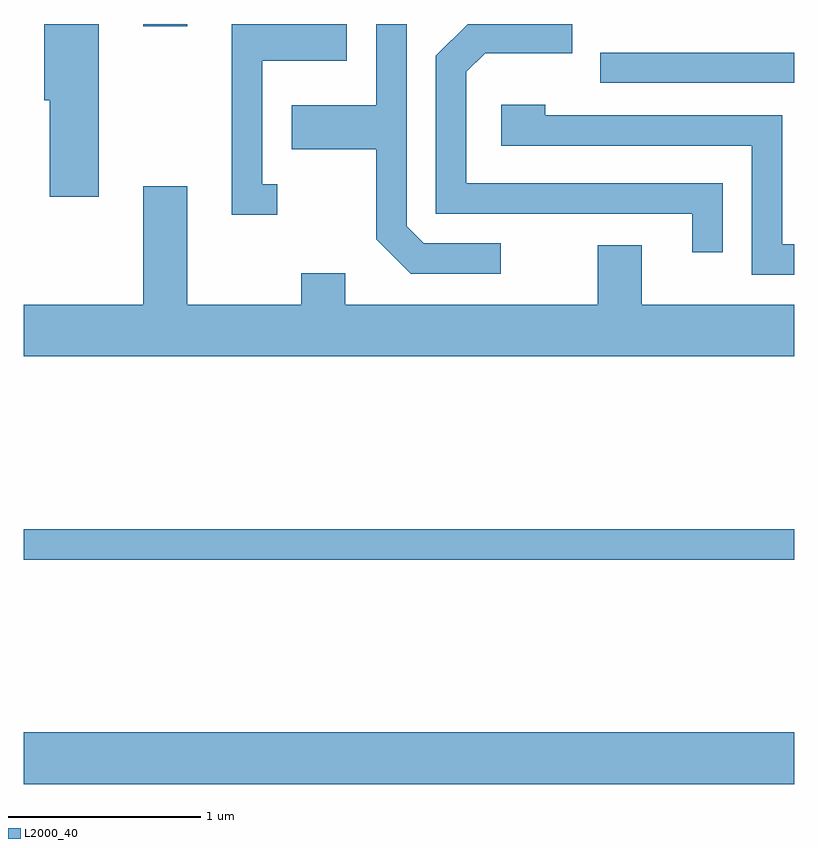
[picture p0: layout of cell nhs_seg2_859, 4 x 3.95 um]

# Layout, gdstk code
import gdstk
lib = gdstk.Library(unit=1e-6, precision=1e-09)
def R(c, l, rs):  # rectangles x0, y0, x1, y1
    for r in rs: c.add(gdstk.rectangle(r[:2], r[2:], *l))
def P(c, l, *ps):  # polygons
    for p in ps: c.add(gdstk.Polygon(p, *l))
L2000_40 = (2000, 40)

nhs_seg2_859 = lib.new_cell('nhs_seg2_859')
R(nhs_seg2_859, L2000_40, [(209.611,1063.856,213.611,1064.124), (209.611,1065.021,213.611,1065.179), (212.603,1067.496,213.611,1067.654), (210.231,1067.791,210.459,1067.802)])
P(nhs_seg2_859, L2000_40, [(213.239,1066.974),(211.909,1066.974),(211.909,1067.554),(212.007,1067.651),(212.459,1067.651),(212.459,1067.802),(211.917,1067.802),(211.751,1067.637),(211.751,1066.816),(213.081,1066.816),(213.081,1066.618),(213.239,1066.618)],
  [(212.088,1066.664),(211.687,1066.664),(211.599,1066.752),(211.599,1067.802),(211.441,1067.802),(211.441,1067.379),(211.001,1067.379),(211.001,1067.151),(211.441,1067.151),(211.441,1066.684),(211.619,1066.506),(212.088,1066.506)],
  [(210.928,1066.969),(210.849,1066.969),(210.849,1067.611),(211.289,1067.611),(211.289,1067.802),(210.691,1067.802),(210.691,1066.811),(210.928,1066.811)],
  [(209.999,1067.802),(209.716,1067.802),(209.716,1067.406),(209.746,1067.406),(209.746,1066.906),(209.999,1066.906)],
  [(213.611,1066.659),(213.549,1066.659),(213.549,1067.329),(212.319,1067.329),(212.319,1067.384),(212.091,1067.384),(212.091,1067.171),(213.391,1067.171),(213.391,1066.501),(213.611,1066.501)],
  [(213.611,1066.344),(212.819,1066.344),(212.819,1066.654),(212.591,1066.654),(212.591,1066.344),(211.279,1066.344),(211.279,1066.509),(211.051,1066.509),(211.051,1066.344),(210.459,1066.344),(210.459,1066.959),(210.231,1066.959),(210.231,1066.344),(209.611,1066.344),(209.611,1066.076),(213.611,1066.076)])

lib.write_gds('nhs_seg2_859.gds')
